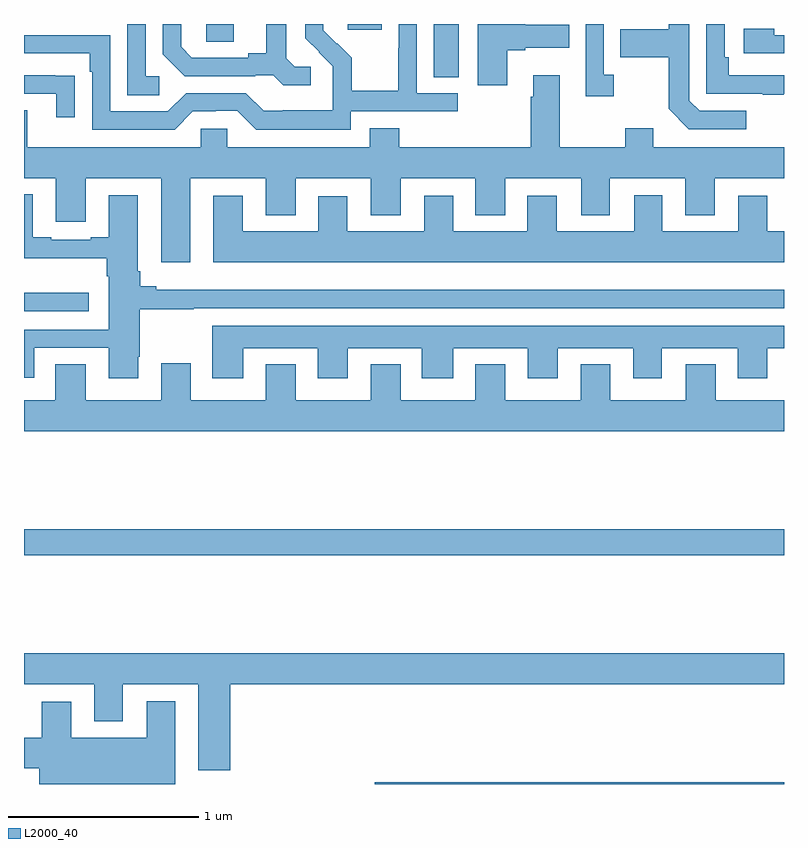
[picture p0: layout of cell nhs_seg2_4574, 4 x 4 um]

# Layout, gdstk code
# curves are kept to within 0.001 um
import gdstk
lib = gdstk.Library(unit=1e-6, precision=1e-09)
def R(c, l, rs):  # rectangles x0, y0, x1, y1
    for r in rs: c.add(gdstk.rectangle(r[:2], r[2:], *l))
def P(c, l, *ps):  # polygons
    for p in ps: c.add(gdstk.Polygon(p, *l))
L2000_40 = (2000, 40)

nhs_seg2_4574 = lib.new_cell('nhs_seg2_4574')
R(nhs_seg2_4574, L2000_40, [(360.845,625.8,363,625.808), (359,627.004,363,627.14), (359,628.287,359.341,628.385), (361.157,629.521,361.288,629.8), (359.958,629.707,360.103,629.8), (360.704,629.769,360.883,629.8)])
P(nhs_seg2_4574, L2000_40, [(362.104,629.534),(362.052,629.534),(362.052,629.8),(361.956,629.8),(361.956,629.421),(362.104,629.421)],
  [(362.8,629.343),(362.556,629.343),(362.502,629.397),(362.502,629.8),(362.394,629.8),(362.394,629.773),(362.137,629.773),(362.137,629.626),(362.394,629.626),(362.394,629.353),(362.499,629.247),(362.8,629.247)],
  [(362.999,629.433),(363,629.433),(363,629.529),(362.708,629.529),(362.708,629.626),(362.688,629.626),(362.688,629.8),(362.592,629.8),(362.592,629.433),(362.887,629.433),(362.887,629.428),(362.999,629.428)],
  [(360.72,629.34),(361.282,629.34),(361.282,629.436),(361.068,629.436),(361.068,629.8),(360.972,629.8),(360.972,629.672),(360.97,629.672),(360.97,629.449),(360.725,629.449),(360.725,629.623),(360.648,629.7),(360.645,629.697),(360.575,629.768),(360.575,629.8),(360.48,629.8),(360.48,629.726),(360.626,629.578),(360.626,629.481),(360.624,629.481),(360.624,629.347),(360.361,629.347),(360.361,629.343),(360.261,629.343),(360.168,629.436),(359.853,629.436),(359.757,629.34),(359.454,629.34),(359.454,629.742),(359,629.742),(359,629.646),(359.345,629.646),(359.345,629.549),(359.358,629.549),(359.358,629.244),(359.793,629.244),(359.889,629.34),(360.008,629.34),(360.008,629.343),(360.123,629.343),(360.223,629.243),(360.72,629.243)],
  [(360.508,629.574),(360.426,629.574),(360.379,629.621),(360.379,629.8),(360.275,629.8),(360.275,629.645),(360.179,629.645),(360.179,629.622),(359.884,629.622),(359.827,629.679),(359.827,629.8),(359.73,629.8),(359.73,629.642),(359.846,629.526),(360.218,629.526),(360.218,629.529),(360.312,629.529),(360.364,629.477),(360.508,629.477)],
  [(361.543,629.663),(361.639,629.663),(361.639,629.675),(361.87,629.675),(361.87,629.797),(361.639,629.797),(361.639,629.8),(361.388,629.8),(361.388,629.478),(361.543,629.478)],
  [(359.713,629.526),(359.64,629.526),(359.64,629.8),(359.544,629.8),(359.544,629.425),(359.713,629.425)],
  [(363,629.742),(362.948,629.742),(362.948,629.776),(362.787,629.776),(362.787,629.646),(363,629.646)],
  [(359.875,628.988),(360.272,628.988),(360.272,628.794),(360.43,628.794),(360.43,628.988),(360.824,628.988),(360.824,628.794),(360.982,628.794),(360.982,628.988),(361.376,628.988),(361.376,628.794),(361.534,628.794),(361.534,628.988),(361.934,628.988),(361.934,628.794),(362.083,628.794),(362.083,628.988),(362.48,628.988),(362.48,628.794),(362.635,628.794),(362.635,628.988),(363,628.988),(363,629.152),(362.311,629.152),(362.311,629.251),(362.164,629.251),(362.164,629.152),(361.819,629.152),(361.819,629.53),(361.679,629.53),(361.679,629.417),(361.667,629.417),(361.667,629.152),(360.974,629.152),(360.974,629.251),(360.821,629.251),(360.821,629.152),(360.069,629.152),(360.069,629.25),(359.931,629.25),(359.931,629.152),(359.017,629.152),(359.017,629.347),(359,629.347),(359,628.988),(359.168,628.988),(359.168,628.758),(359.326,628.758),(359.326,628.988),(359.723,628.988),(359.723,628.545),(359.875,628.545)],
  [(359.267,629.528),(359.165,629.528),(359.165,629.529),(359,629.529),(359,629.433),(359.171,629.433),(359.171,629.31),(359.267,629.31)],
  [(359.602,628.048),(359.61,628.048),(359.61,628.3),(359.894,628.3),(359.894,628.305),(363,628.305),(363,628.402),(359.695,628.402),(359.695,628.421),(359.612,628.421),(359.612,628.498),(359.599,628.498),(359.599,628.9),(359.447,628.9),(359.447,628.678),(359.351,628.678),(359.351,628.665),(359.143,628.665),(359.143,628.678),(359.047,628.678),(359.047,628.903),(359,628.903),(359,628.568),(359.435,628.568),(359.435,628.472),(359.447,628.472),(359.447,628.191),(359,628.191),(359,627.939),(359.053,627.939),(359.053,628.095),(359.447,628.095),(359.447,627.936),(359.602,627.936)],
  [(363,628.708),(362.911,628.708),(362.911,628.897),(362.759,628.897),(362.759,628.708),(362.359,628.708),(362.359,628.9),(362.213,628.9),(362.213,628.708),(361.804,628.708),(361.804,628.897),(361.649,628.897),(361.649,628.708),(361.258,628.708),(361.258,628.897),(361.106,628.897),(361.106,628.708),(360.7,628.708),(360.7,628.894),(360.548,628.894),(360.548,628.708),(360.151,628.708),(360.151,628.897),(359.996,628.897),(359.996,628.547),(363,628.547)],
  [(360.154,628.094),(360.545,628.094),(360.545,627.936),(360.703,627.936),(360.703,628.094),(361.094,628.094),(361.094,627.936),(361.258,627.936),(361.258,628.094),(361.652,628.094),(361.652,627.936),(361.81,627.936),(361.81,628.094),(362.207,628.094),(362.207,627.936),(362.356,627.936),(362.356,628.094),(362.756,628.094),(362.756,627.936),(362.911,627.936),(362.911,628.094),(363,628.094),(363,628.213),(359.99,628.213),(359.99,627.936),(360.154,627.936)],
  [(363,627.82),(362.641,627.82),(362.641,628.009),(362.483,628.009),(362.483,627.82),(362.086,627.82),(362.086,628.009),(361.931,628.009),(361.931,627.82),(361.534,627.82),(361.534,628.009),(361.376,628.009),(361.376,627.82),(360.982,627.82),(360.982,628.009),(360.824,628.009),(360.824,627.82),(360.43,627.82),(360.43,628.009),(360.272,628.009),(360.272,627.82),(359.878,627.82),(359.878,628.015),(359.723,628.015),(359.723,627.82),(359.326,627.82),(359.326,628.01),(359.165,628.01),(359.165,627.82),(359,627.82),(359,627.656),(363,627.656)],
  [(360.086,626.324),(363,626.324),(363,626.488),(359,626.488),(359,626.324),(359.369,626.324),(359.369,626.13),(359.521,626.13),(359.521,626.324),(359.918,626.324),(359.918,625.872),(360.086,625.872)],
  [(359.797,626.236),(359.645,626.236),(359.645,626.044),(359.248,626.044),(359.248,626.233),(359.093,626.233),(359.093,626.044),(359,626.044),(359,625.883),(359.081,625.883),(359.081,625.8),(359.797,625.8)])

lib.write_gds('nhs_seg2_4574.gds')
